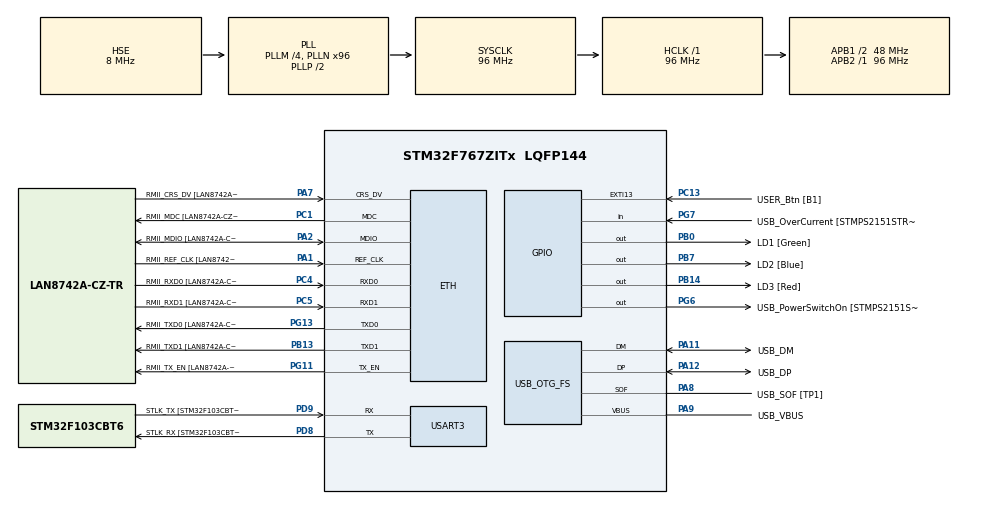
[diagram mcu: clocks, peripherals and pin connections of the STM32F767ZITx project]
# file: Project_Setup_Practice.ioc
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ETH.MediaInterface=HAL_ETH_RMII_MODE
ETH.PHY_Name=LAN8742A_PHY_ADDRESS
ETH.PHY_Value=0
ETH.PhyAddress=0
Mcu.Family=STM32F7
Mcu.Name=STM32F767ZITx
Mcu.Package=LQFP144
NVIC.PriorityGroup=NVIC_PRIORITYGROUP_4
NVIC.TIM5_IRQn=true\:15\:0\:false\:false\:true\:false\:true\:true
NVIC.TimeBase=TIM5_IRQn
NVIC.TimeBaseIP=TIM5
PA1.GPIO_Label=RMII_REF_CLK [LAN8742A-CZ-TR_REFCLK0]
PA1.Mode=RMII
PA1.Signal=ETH_REF_CLK
PA10.GPIO_Label=USB_ID
PA10.Signal=USB_OTG_FS_ID
PA11.GPIO_Label=USB_DM
PA11.Mode=Device_Only
PA11.Signal=USB_OTG_FS_DM
PA12.GPIO_Label=USB_DP
PA12.Mode=Device_Only
PA12.Signal=USB_OTG_FS_DP
PA13.GPIO_Label=TMS
PA13.Mode=Serial_Wire
PA13.Signal=SYS_JTMS-SWDIO
PA14.GPIO_Label=TCK
PA14.Mode=Serial_Wire
PA14.Signal=SYS_JTCK-SWCLK
PA2.GPIO_Label=RMII_MDIO [LAN8742A-CZ-TR_MDIO]
PA2.Mode=RMII
PA2.Signal=ETH_MDIO
PA7.GPIO_Label=RMII_CRS_DV [LAN8742A-CZ-TR_CRS_DV]
PA7.Mode=RMII
PA7.Signal=ETH_CRS_DV
PA8.GPIO_Label=USB_SOF [TP1]
PA8.Mode=Activate_SOF_FS
PA8.Signal=USB_OTG_FS_SOF
PA9.GPIO_Label=USB_VBUS
PA9.Mode=Activate_VBUS
PA9.Signal=USB_OTG_FS_VBUS
PB0.GPIO_Label=LD1 [Green]
PB0.Signal=GPIO_Output
PB13.GPIO_Label=RMII_TXD1 [LAN8742A-CZ-TR_TXD1]
PB13.Mode=RMII
PB13.Signal=ETH_TXD1
PB14.GPIO_Label=LD3 [Red]
PB14.Signal=GPIO_Output
PB3.GPIO_Label=SWO
PB3.Signal=SYS_JTDO-SWO
PB7.GPIO_Label=LD2 [Blue]
PB7.Signal=GPIO_Output
PC1.GPIO_Label=RMII_MDC [LAN8742A-CZ-TR_MDC]
PC1.Mode=RMII
PC1.Signal=ETH_MDC
PC13.GPIO_Label=USER_Btn [B1]
PC13.Signal=GPXTI13
PC14/OSC32_IN.Mode=LSE-External-Oscillator
PC14/OSC32_IN.Signal=RCC_OSC32_IN
PC15/OSC32_OUT.Mode=LSE-External-Oscillator
PC15/OSC32_OUT.Signal=RCC_OSC32_OUT
PC4.GPIO_Label=RMII_RXD0 [LAN8742A-CZ-TR_RXD0]
PC4.Mode=RMII
PC4.Signal=ETH_RXD0
PC5.GPIO_Label=RMII_RXD1 [LAN8742A-CZ-TR_RXD1]
PC5.Mode=RMII
PC5.Signal=ETH_RXD1
PD8.GPIO_Label=STLK_RX [STM32F103CBT6_PA3]
PD8.Mode=Asynchronous
PD8.Signal=USART3_TX
PD9.GPIO_Label=STLK_TX [STM32F103CBT6_PA2]
PD9.Mode=Asynchronous
PD9.Signal=USART3_RX
PG11.GPIO_Label=RMII_TX_EN [LAN8742A-CZ-TR_TXEN]
PG11.Mode=RMII
PG11.Signal=ETH_TX_EN
PG13.GPIO_Label=RMII_TXD0 [LAN8742A-CZ-TR_TXD0]
PG13.Mode=RMII
PG13.Signal=ETH_TXD0
PG6.GPIO_Label=USB_PowerSwitchOn [STMPS2151STR_EN]
PG6.Signal=GPIO_Output
PG7.GPIO_Label=USB_OverCurrent [STMPS2151STR_FAULT]
PG7.Signal=GPIO_Input
PH0/OSC_IN.GPIO_Label=MCO [STM32F103CBT6_PA8]
PH0/OSC_IN.Mode=HSE-External-Clock-Source
PH0/OSC_IN.Signal=RCC_OSC_IN
PH1/OSC_OUT.Mode=HSE-External-Clock-Source
PH1/OSC_OUT.Signal=RCC_OSC_OUT
ProjectManager.HeapSize=0x200
ProjectManager.StackSize=0x400
ProjectManager.TargetToolchain=STM32CubeIDE
RCC.48MHZClocksFreq_Value=24000000
RCC.AHBFreq_Value=96000000
RCC.APB1CLKDivider=RCC_HCLK_DIV2
RCC.APB1Freq_Value=48000000
RCC.APB1TimFreq_Value=96000000
RCC.APB2Freq_Value=96000000
RCC.APB2TimFreq_Value=96000000
RCC.CortexFreq_Value=96000000
RCC.HCLKFreq_Value=96000000
RCC.HSE_VALUE=8000000
RCC.HSI_VALUE=16000000
RCC.PLLM=4
RCC.PLLMUL=RCC_PLL_MUL9
RCC.PLLN=96
RCC.PLLQ=4
RCC.PRESCALERUSB=RCC_USBCLKSOURCE_PLL_DIV1_5
RCC.SYSCLKFreq_VALUE=96000000
RCC.SYSCLKSource=RCC_SYSCLKSOURCE_PLLCLK
RCC.SYSCLKSourceVirtual=RCC_SYSCLKSOURCE_PLLCLK
RCC.USBFreq_Value=48000000
RCC.VCOOutputFreq_Value=192000000
USART3.VirtualMode-Asynchronous=VM_ASYNC
USB_OTG_FS.VirtualMode=Device_Only
VP_SYS_VS_tim5.Mode=TIM5
board=NUCLEO-F767ZI

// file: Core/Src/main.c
/* USER CODE BEGIN Header */
/**
 ******************************************************************************
 * @file           : main.c
 * @brief          : Main program body
 ******************************************************************************
 * @attention
 *
 * Copyright (c) 2024 STMicroelectronics.
 * All rights reserved.
 *
 * This software is licensed under terms that can be found in the LICENSE file
 * in the root directory of this software component.
 * If no LICENSE file comes with this software, it is provided AS-IS.
 *
 ******************************************************************************
 */
/* USER CODE END Header */
#include "main.h"
#include "string.h"

/* USER CODE BEGIN Includes */
#include "FreeRTOS.h"
#include "task.h"
/* USER CODE END Includes */

#if defined ( __ICCARM__ ) /*!< IAR Compiler */
#pragma location=0x2007c000
ETH_DMADescTypeDef  DMARxDscrTab[ETH_RX_DESC_CNT]; /* Ethernet Rx DMA Descriptors */
#pragma location=0x2007c0a0
ETH_DMADescTypeDef  DMATxDscrTab[ETH_TX_DESC_CNT]; /* Ethernet Tx DMA Descriptors */

#elif defined ( __CC_ARM )  /* MDK ARM Compiler */

__attribute__((at(0x2007c000))) ETH_DMADescTypeDef  DMARxDscrTab[ETH_RX_DESC_CNT]; /* Ethernet Rx DMA Descriptors */
__attribute__((at(0x2007c0a0))) ETH_DMADescTypeDef  DMATxDscrTab[ETH_TX_DESC_CNT]; /* Ethernet Tx DMA Descriptors */

#elif defined ( __GNUC__ ) /* GNU Compiler */

ETH_DMADescTypeDef DMARxDscrTab[ETH_RX_DESC_CNT] __attribute__((section(".RxDecripSection"))); /* Ethernet Rx DMA Descriptors */
ETH_DMADescTypeDef DMATxDscrTab[ETH_TX_DESC_CNT] __attribute__((section(".TxDecripSection")));   /* Ethernet Tx DMA Descriptors */
#endif

ETH_TxPacketConfig TxConfig;

ETH_HandleTypeDef heth;

UART_HandleTypeDef huart3;

PCD_HandleTypeDef hpcd_USB_OTG_FS;

void SystemClock_Config(void);
static void MX_GPIO_Init(void);
static void MX_ETH_Init(void);
static void MX_USART3_UART_Init(void);
static void MX_USB_OTG_FS_PCD_Init(void);
/* USER CODE BEGIN PFP */

static void led_green_handler(void* parameters);
static void led_blue_handler(void* parameters);
static void led_red_handler(void* parameters);

/* USER CODE END PFP */

int main(void)
{

	/* USER CODE BEGIN 1 */
	TaskHandle_t task1_handle;
	TaskHandle_t task2_handle;
	TaskHandle_t task3_handle;
	BaseType_t status;
	/* USER CODE END 1 */

	/* MCU Configuration--------------------------------------------------------*/

	/* Reset of all peripherals, Initializes the Flash interface and the Systick. */
	HAL_Init();

	/* Configure the system clock */
	SystemClock_Config();

	/* USER CODE BEGIN SysInit */
	CoreDebug->DEMCR |= CoreDebug_DEMCR_TRCENA_Msk;
	DWT->LAR = 0xC5ACCE55;
	DWT->CYCCNT = 0;
	DWT->CTRL |= DWT_CTRL_CYCCNTENA_Msk;

	SEGGER_SYSVIEW_Conf();
	SEGGER_SYSVIEW_Start();

	/* USER CODE END SysInit */

	/* Initialize all configured peripherals */
	MX_GPIO_Init();
	MX_ETH_Init();
	MX_USART3_UART_Init();
	MX_USB_OTG_FS_PCD_Init();

	/* USER CODE BEGIN 2 */
	status = xTaskCreate(led_green_handler, "LED_GREEN_TASK", 200, NULL, 2, &task1_handle);
	configASSERT(status == pdPASS);
	status = xTaskCreate(led_blue_handler, "LED_BLUE_TASK", 200, NULL, 2, &task2_handle);
	configASSERT(status == pdPASS);
	status = xTaskCreate(led_red_handler, "LED_RED_TASK", 200, NULL, 2, &task3_handle);
	configASSERT(status == pdPASS);

	vTaskStartScheduler();
	/* USER CODE END 2 */

	/* Infinite loop */
	while (1)
	{

	}
}

void SystemClock_Config(void)
{
	RCC_OscInitTypeDef RCC_OscInitStruct = {0};
	RCC_ClkInitTypeDef RCC_ClkInitStruct = {0};

	/** Configure LSE Drive Capability
	 */
	HAL_PWR_EnableBkUpAccess();

	/** Configure the main internal regulator output voltage
	 */
	__HAL_RCC_PWR_CLK_ENABLE();
	__HAL_PWR_VOLTAGESCALING_CONFIG(PWR_REGULATOR_VOLTAGE_SCALE3);

	/** Initializes the RCC Oscillators according to the specified parameters
	 * in the RCC_OscInitTypeDef structure.
	 */
	RCC_OscInitStruct.OscillatorType = RCC_OSCILLATORTYPE_HSE;
	RCC_OscInitStruct.HSEState = RCC_HSE_BYPASS;
	RCC_OscInitStruct.PLL.PLLState = RCC_PLL_ON;
	RCC_OscInitStruct.PLL.PLLSource = RCC_PLLSOURCE_HSE;
	RCC_OscInitStruct.PLL.PLLM = 4;
	RCC_OscInitStruct.PLL.PLLN = 96;
	RCC_OscInitStruct.PLL.PLLP = RCC_PLLP_DIV2;
	RCC_OscInitStruct.PLL.PLLQ = 4;
	RCC_OscInitStruct.PLL.PLLR = 2;
	if (HAL_RCC_OscConfig(&RCC_OscInitStruct) != HAL_OK)
	{
		Error_Handler();
	}

	/** Activate the Over-Drive mode
	 */
	if (HAL_PWREx_EnableOverDrive() != HAL_OK)
	{
		Error_Handler();
	}

	/** Initializes the CPU, AHB and APB buses clocks
	 */
	RCC_ClkInitStruct.ClockType = RCC_CLOCKTYPE_HCLK|RCC_CLOCKTYPE_SYSCLK
			|RCC_CLOCKTYPE_PCLK1|RCC_CLOCKTYPE_PCLK2;
	RCC_ClkInitStruct.SYSCLKSource = RCC_SYSCLKSOURCE_PLLCLK;
	RCC_ClkInitStruct.AHBCLKDivider = RCC_SYSCLK_DIV1;
	RCC_ClkInitStruct.APB1CLKDivider = RCC_HCLK_DIV2;
	RCC_ClkInitStruct.APB2CLKDivider = RCC_HCLK_DIV1;

	if (HAL_RCC_ClockConfig(&RCC_ClkInitStruct, FLASH_LATENCY_3) != HAL_OK)
	{
		Error_Handler();
	}
}

static void MX_ETH_Init(void)
{

	static uint8_t MACAddr[6];

	heth.Instance = ETH;
	MACAddr[0] = 0x00;
	MACAddr[1] = 0x80;
	MACAddr[2] = 0xE1;
	MACAddr[3] = 0x00;
	MACAddr[4] = 0x00;
	MACAddr[5] = 0x00;
	heth.Init.MACAddr = &MACAddr[0];
	heth.Init.MediaInterface = HAL_ETH_RMII_MODE;
	heth.Init.TxDesc = DMATxDscrTab;
	heth.Init.RxDesc = DMARxDscrTab;
	heth.Init.RxBuffLen = 1524;

	if (HAL_ETH_Init(&heth) != HAL_OK)
	{
		Error_Handler();
	}

	memset(&TxConfig, 0 , sizeof(ETH_TxPacketConfig));
	TxConfig.Attributes = ETH_TX_PACKETS_FEATURES_CSUM | ETH_TX_PACKETS_FEATURES_CRCPAD;
	TxConfig.ChecksumCtrl = ETH_CHECKSUM_IPHDR_PAYLOAD_INSERT_PHDR_CALC;
	TxConfig.CRCPadCtrl = ETH_CRC_PAD_INSERT;

}

static void MX_USART3_UART_Init(void)
{

	huart3.Instance = USART3;
	huart3.Init.BaudRate = 115200;
	huart3.Init.WordLength = UART_WORDLENGTH_8B;
	huart3.Init.StopBits = UART_STOPBITS_1;
	huart3.Init.Parity = UART_PARITY_NONE;
	huart3.Init.Mode = UART_MODE_TX_RX;
	huart3.Init.HwFlowCtl = UART_HWCONTROL_NONE;
	huart3.Init.OverSampling = UART_OVERSAMPLING_16;
	huart3.Init.OneBitSampling = UART_ONE_BIT_SAMPLE_DISABLE;
	huart3.AdvancedInit.AdvFeatureInit = UART_ADVFEATURE_NO_INIT;
	if (HAL_UART_Init(&huart3) != HAL_OK)
	{
		Error_Handler();
	}

}

static void MX_USB_OTG_FS_PCD_Init(void)
{

	hpcd_USB_OTG_FS.Instance = USB_OTG_FS;
	hpcd_USB_OTG_FS.Init.dev_endpoints = 6;
	hpcd_USB_OTG_FS.Init.speed = PCD_SPEED_FULL;
	hpcd_USB_OTG_FS.Init.dma_enable = DISABLE;
	hpcd_USB_OTG_FS.Init.phy_itface = PCD_PHY_EMBEDDED;
	hpcd_USB_OTG_FS.Init.Sof_enable = ENABLE;
	hpcd_USB_OTG_FS.Init.low_power_enable = DISABLE;
	hpcd_USB_OTG_FS.Init.lpm_enable = DISABLE;
	hpcd_USB_OTG_FS.Init.vbus_sensing_enable = ENABLE;
	hpcd_USB_OTG_FS.Init.use_dedicated_ep1 = DISABLE;
	if (HAL_PCD_Init(&hpcd_USB_OTG_FS) != HAL_OK)
	{
		Error_Handler();
	}

}

static void MX_GPIO_Init(void)
{
	GPIO_InitTypeDef GPIO_InitStruct = {0};

	/* GPIO Ports Clock Enable */
	__HAL_RCC_GPIOC_CLK_ENABLE();
	__HAL_RCC_GPIOH_CLK_ENABLE();
	__HAL_RCC_GPIOA_CLK_ENABLE();
	__HAL_RCC_GPIOB_CLK_ENABLE();
	__HAL_RCC_GPIOD_CLK_ENABLE();
	__HAL_RCC_GPIOG_CLK_ENABLE();

	/*Configure GPIO pin Output Level */
	HAL_GPIO_WritePin(GPIOB, LD1_Pin|LD3_Pin|LD2_Pin, GPIO_PIN_RESET);

	/*Configure GPIO pin Output Level */
	HAL_GPIO_WritePin(USB_PowerSwitchOn_GPIO_Port, USB_PowerSwitchOn_Pin, GPIO_PIN_RESET);

	/*Configure GPIO pin : USER_Btn_Pin */
	GPIO_InitStruct.Pin = USER_Btn_Pin;
	GPIO_InitStruct.Mode = GPIO_MODE_IT_RISING;
	GPIO_InitStruct.Pull = GPIO_NOPULL;
	HAL_GPIO_Init(USER_Btn_GPIO_Port, &GPIO_InitStruct);

	/*Configure GPIO pins : LD1_Pin LD3_Pin LD2_Pin */
	GPIO_InitStruct.Pin = LD1_Pin|LD3_Pin|LD2_Pin;
	GPIO_InitStruct.Mode = GPIO_MODE_OUTPUT_PP;
	GPIO_InitStruct.Pull = GPIO_NOPULL;
	GPIO_InitStruct.Speed = GPIO_SPEED_FREQ_LOW;
	HAL_GPIO_Init(GPIOB, &GPIO_InitStruct);

	/*Configure GPIO pin : USB_PowerSwitchOn_Pin */
	GPIO_InitStruct.Pin = USB_PowerSwitchOn_Pin;
	GPIO_InitStruct.Mode = GPIO_MODE_OUTPUT_PP;
	GPIO_InitStruct.Pull = GPIO_NOPULL;
	GPIO_InitStruct.Speed = GPIO_SPEED_FREQ_LOW;
	HAL_GPIO_Init(USB_PowerSwitchOn_GPIO_Port, &GPIO_InitStruct);

	/*Configure GPIO pin : USB_OverCurrent_Pin */
	GPIO_InitStruct.Pin = USB_OverCurrent_Pin;
	GPIO_InitStruct.Mode = GPIO_MODE_INPUT;
	GPIO_InitStruct.Pull = GPIO_NOPULL;
	HAL_GPIO_Init(USB_OverCurrent_GPIO_Port, &GPIO_InitStruct);

}

/* USER CODE BEGIN 4 */
static void led_green_handler(void* parameters)
{
	while(1)
	{
		SEGGER_SYSVIEW_PrintfTarget("Toggling GREEN LED");
		HAL_GPIO_TogglePin(GPIOB, GPIO_PIN_0);
		HAL_Delay(1000);
	}
}

static void led_blue_handler(void* parameters)
{
	while(1)
	{
		SEGGER_SYSVIEW_PrintfTarget("Toggling BLUE LED");
		HAL_GPIO_TogglePin(GPIOB, GPIO_PIN_7);
		HAL_Delay(800);
	}
}

static void led_red_handler(void* parameters)
{
	while(1)
	{
		SEGGER_SYSVIEW_PrintfTarget("Toggling RED LED");
		HAL_GPIO_TogglePin(GPIOB, GPIO_PIN_14);
		HAL_Delay(400);
	}
}

/* USER CODE END 4 */

void HAL_TIM_PeriodElapsedCallback(TIM_HandleTypeDef *htim)
{
	if (htim->Instance == TIM5) {
		HAL_IncTick();
	}
}

void Error_Handler(void)
{
	__disable_irq();
	while (1)
	{
	}
}
